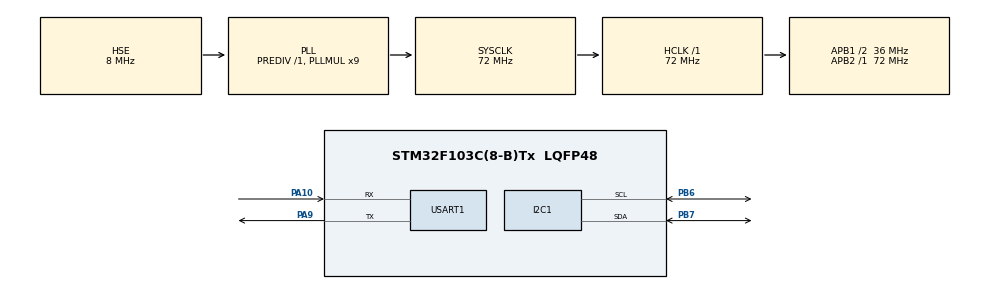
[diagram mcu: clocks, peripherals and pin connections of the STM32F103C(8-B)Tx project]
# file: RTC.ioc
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Mcu.Family=STM32F1
Mcu.Name=STM32F103C(8-B)Tx
Mcu.Package=LQFP48
NVIC.PriorityGroup=NVIC_PRIORITYGROUP_4
PA10.Mode=Asynchronous
PA10.Signal=USART1_RX
PA13.Mode=Serial_Wire
PA13.Signal=SYS_JTMS-SWDIO
PA14.Mode=Serial_Wire
PA14.Signal=SYS_JTCK-SWCLK
PA9.Mode=Asynchronous
PA9.Signal=USART1_TX
PB6.Mode=I2C
PB6.Signal=I2C1_SCL
PB7.Mode=I2C
PB7.Signal=I2C1_SDA
PD0-OSC_IN.Mode=HSE-External-Oscillator
PD0-OSC_IN.Signal=RCC_OSC_IN
PD1-OSC_OUT.Mode=HSE-External-Oscillator
PD1-OSC_OUT.Signal=RCC_OSC_OUT
ProjectManager.HeapSize=0x200
ProjectManager.StackSize=0x400
ProjectManager.TargetToolchain=STM32CubeIDE
RCC.AHBFreq_Value=72000000
RCC.APB1CLKDivider=RCC_HCLK_DIV2
RCC.APB1Freq_Value=36000000
RCC.APB1TimFreq_Value=72000000
RCC.APB2Freq_Value=72000000
RCC.APB2TimFreq_Value=72000000
RCC.HCLKFreq_Value=72000000
RCC.PLLMUL=RCC_PLL_MUL9
RCC.PLLSourceVirtual=RCC_PLLSOURCE_HSE
RCC.SYSCLKFreq_VALUE=72000000
RCC.SYSCLKSource=RCC_SYSCLKSOURCE_PLLCLK
RCC.USBFreq_Value=72000000
USART1.VirtualMode=VM_ASYNC
board=custom

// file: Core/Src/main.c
/* USER CODE BEGIN Header */
/**
 ******************************************************************************
 * @file           : main.c
 * @brief          : Main program body
 ******************************************************************************
 * @attention
 *
 * Copyright (c) 2024 STMicroelectronics.
 * All rights reserved.
 *
 * This software is licensed under terms that can be found in the LICENSE file
 * in the root directory of this software component.
 * If no LICENSE file comes with this software, it is provided AS-IS.
 *
 ******************************************************************************
 */
/* USER CODE END Header */
#include "main.h"

/* USER CODE BEGIN Includes */
#include "../../Drivers/Device_Drivers/DS1307/DS1307.h"
/* USER CODE END Includes */

I2C_HandleTypeDef hi2c1;

UART_HandleTypeDef huart1;

/* USER CODE BEGIN PV */
ds1307_t CLK = {

};
uint32_t str[50];
/* USER CODE END PV */

void SystemClock_Config(void);
static void MX_GPIO_Init(void);
static void MX_I2C1_Init(void);
static void MX_USART1_UART_Init(void);

int main(void) {

	/* MCU Configuration--------------------------------------------------------*/

	/* Reset of all peripherals, Initializes the Flash interface and the Systick. */
	HAL_Init();

	/* Configure the system clock */
	SystemClock_Config();

	/* Initialize all configured peripherals */
	MX_GPIO_Init();
	MX_I2C1_Init();
	MX_USART1_UART_Init();
	/* USER CODE BEGIN 2 */
	if (Ds1307_Init(&CLK) == DS1307_SUCCESS) {
		HAL_UART_Transmit(&huart1, "clock ok\n\r", strlen("clock ok\n\r"), 100);
	} else {
		HAL_UART_Transmit(&huart1, "clock is not ok\n\r",
				strlen("clock is not ok\n\r"), 100);
	}
	/* USER CODE END 2 */

	/* Infinite loop */
	/* USER CODE BEGIN WHILE */
	while (1) {
		Ds1307_Read_Time(&CLK);
		uint8_t length = sprintf(str,
				"%02d:%02d:%02d Day %02d %02d/%02d/%04d\n\r", CLK.hour, CLK.min,
				CLK.sec, CLK.day, CLK.date, CLK.month, CLK.year);
		Ds1307_Write_Time(&CLK);
		HAL_UART_Transmit(&huart1, str, strlen(str), 100);
		HAL_Delay(500);
		/* USER CODE END WHILE */

	}
}

void SystemClock_Config(void) {
	RCC_OscInitTypeDef RCC_OscInitStruct = { 0 };
	RCC_ClkInitTypeDef RCC_ClkInitStruct = { 0 };

	/** Initializes the RCC Oscillators according to the specified parameters
	 * in the RCC_OscInitTypeDef structure.
	 */
	RCC_OscInitStruct.OscillatorType = RCC_OSCILLATORTYPE_HSE;
	RCC_OscInitStruct.HSEState = RCC_HSE_ON;
	RCC_OscInitStruct.HSEPredivValue = RCC_HSE_PREDIV_DIV1;
	RCC_OscInitStruct.HSIState = RCC_HSI_ON;
	RCC_OscInitStruct.PLL.PLLState = RCC_PLL_ON;
	RCC_OscInitStruct.PLL.PLLSource = RCC_PLLSOURCE_HSE;
	RCC_OscInitStruct.PLL.PLLMUL = RCC_PLL_MUL9;
	if (HAL_RCC_OscConfig(&RCC_OscInitStruct) != HAL_OK) {
		Error_Handler();
	}

	/** Initializes the CPU, AHB and APB buses clocks
	 */
	RCC_ClkInitStruct.ClockType = RCC_CLOCKTYPE_HCLK | RCC_CLOCKTYPE_SYSCLK
			| RCC_CLOCKTYPE_PCLK1 | RCC_CLOCKTYPE_PCLK2;
	RCC_ClkInitStruct.SYSCLKSource = RCC_SYSCLKSOURCE_PLLCLK;
	RCC_ClkInitStruct.AHBCLKDivider = RCC_SYSCLK_DIV1;
	RCC_ClkInitStruct.APB1CLKDivider = RCC_HCLK_DIV2;
	RCC_ClkInitStruct.APB2CLKDivider = RCC_HCLK_DIV1;

	if (HAL_RCC_ClockConfig(&RCC_ClkInitStruct, FLASH_LATENCY_2) != HAL_OK) {
		Error_Handler();
	}
}

static void MX_I2C1_Init(void) {

	hi2c1.Instance = I2C1;
	hi2c1.Init.ClockSpeed = 100000;
	hi2c1.Init.DutyCycle = I2C_DUTYCYCLE_2;
	hi2c1.Init.OwnAddress1 = 0;
	hi2c1.Init.AddressingMode = I2C_ADDRESSINGMODE_7BIT;
	hi2c1.Init.DualAddressMode = I2C_DUALADDRESS_DISABLE;
	hi2c1.Init.OwnAddress2 = 0;
	hi2c1.Init.GeneralCallMode = I2C_GENERALCALL_DISABLE;
	hi2c1.Init.NoStretchMode = I2C_NOSTRETCH_DISABLE;
	if (HAL_I2C_Init(&hi2c1) != HAL_OK) {
		Error_Handler();
	}

}

static void MX_USART1_UART_Init(void) {

	huart1.Instance = USART1;
	huart1.Init.BaudRate = 115200;
	huart1.Init.WordLength = UART_WORDLENGTH_8B;
	huart1.Init.StopBits = UART_STOPBITS_1;
	huart1.Init.Parity = UART_PARITY_NONE;
	huart1.Init.Mode = UART_MODE_TX_RX;
	huart1.Init.HwFlowCtl = UART_HWCONTROL_NONE;
	huart1.Init.OverSampling = UART_OVERSAMPLING_16;
	if (HAL_UART_Init(&huart1) != HAL_OK) {
		Error_Handler();
	}

}

static void MX_GPIO_Init(void) {

	/* GPIO Ports Clock Enable */
	__HAL_RCC_GPIOD_CLK_ENABLE();
	__HAL_RCC_GPIOA_CLK_ENABLE();
	__HAL_RCC_GPIOB_CLK_ENABLE();

}

void Error_Handler(void) {
	__disable_irq();
	while (1) {
	}
}
